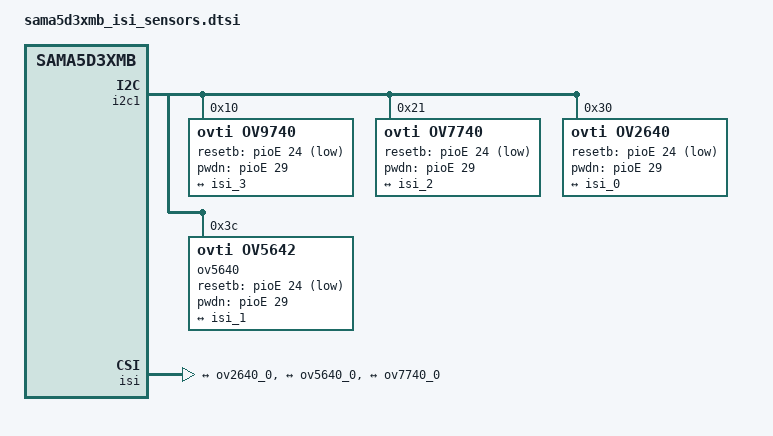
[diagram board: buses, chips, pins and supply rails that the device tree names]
/*
 * sama5d3xmb_isi_sensors.dts - Device Tree file for camera sensor boards which
 *                              can be insert in SAMA5D3x mother board
 *
 *  Copyright (C) 2015 Atmel,
 *                2015 Josh Wu <josh.wu@atmel.com>
 *
 * Licensed under GPLv2 or later.
 */

/ {
	ahb {
		apb {
			i2c1: i2c@f0018000 {
				ov9740: camera@0x10 {
					compatible = "ovti,ov9740";
					reg = <0x10>;
					pinctrl-names = "default";
					pinctrl-0 = <&pinctrl_pck1_as_isi_mck &pinctrl_sensor_power &pinctrl_sensor_reset>;
					resetb-gpios = <&pioE 24 GPIO_ACTIVE_LOW>;
					pwdn-gpios = <&pioE 29 GPIO_ACTIVE_HIGH>;
					clocks = <&pck1>;
					clock-names = "xvclk";
					assigned-clocks = <&pck1>;
					assigned-clock-rates = <25000000>;

					port {
						ov9740_0: endpoint {
							remote-endpoint = <&isi_3>;
							bus-width = <8>;
						};
					};
				};

				ov7740: camera@0x21 {
					compatible = "ovti,ov7740";
					reg = <0x21>;
					pinctrl-names = "default";
					pinctrl-0 = <&pinctrl_pck1_as_isi_mck &pinctrl_sensor_power &pinctrl_sensor_reset>;
					resetb-gpios = <&pioE 24 GPIO_ACTIVE_LOW>;
					pwdn-gpios = <&pioE 29 GPIO_ACTIVE_HIGH>;
					clocks = <&pck1>;
					clock-names = "xvclk";
					assigned-clocks = <&pck1>;
					assigned-clock-rates = <25000000>;

					port {
						ov7740_0: endpoint {
							remote-endpoint = <&isi_2>;
							bus-width = <8>;
						};
					};
				};

				ov2640: camera@0x30 {
					compatible = "ovti,ov2640";
					reg = <0x30>;
					pinctrl-names = "default";
					pinctrl-0 = <&pinctrl_pck1_as_isi_mck &pinctrl_sensor_power &pinctrl_sensor_reset>;
					resetb-gpios = <&pioE 24 GPIO_ACTIVE_LOW>;
					pwdn-gpios = <&pioE 29 GPIO_ACTIVE_HIGH>;
					/* use pck1 for the master clock of ov2640 */
					clocks = <&pck1>;
					clock-names = "xvclk";
					assigned-clocks = <&pck1>;
					assigned-clock-rates = <25000000>;

					port {
						ov2640_0: endpoint {
							remote-endpoint = <&isi_0>;
							bus-width = <8>;
						};
					};
				};

				ov5640: camera@0x3c {
					compatible = "ovti,ov5642";
					reg = <0x3c>;
					pinctrl-names = "default";
					pinctrl-0 = <&pinctrl_pck1_as_isi_mck &pinctrl_sensor_power &pinctrl_sensor_reset>;
					resetb-gpios = <&pioE 24 GPIO_ACTIVE_LOW>;
					pwdn-gpios = <&pioE 29 GPIO_ACTIVE_HIGH>;
					clocks = <&pck1>;
					clock-names = "xvclk";
					assigned-clocks = <&pck1>;
					assigned-clock-rates = <25000000>;

					port {
						ov5640_0: endpoint {
							remote-endpoint = <&isi_1>;
							bus-width = <8>;
						};
					};
				};
			};
		};

		isi: isi@f0034000 {
			status = "okay";
			port {
				isi_0: endpoint@0 {
					remote-endpoint = <&ov2640_0>;
					bus-width = <8>;
				};

				isi_1: endpoint@1 {
					remote-endpoint = <&ov5640_0>;
					bus-width = <8>;
				};

				isi_2: endpoint@2 {
					remote-endpoint = <&ov7740_0>;
					bus-width = <8>;
				};

				isi_3: endpoint@3 {
					remote-endpoint = <&ov9740_0>;
					bus-width = <8>;
				};
			};
		};
	};
};
